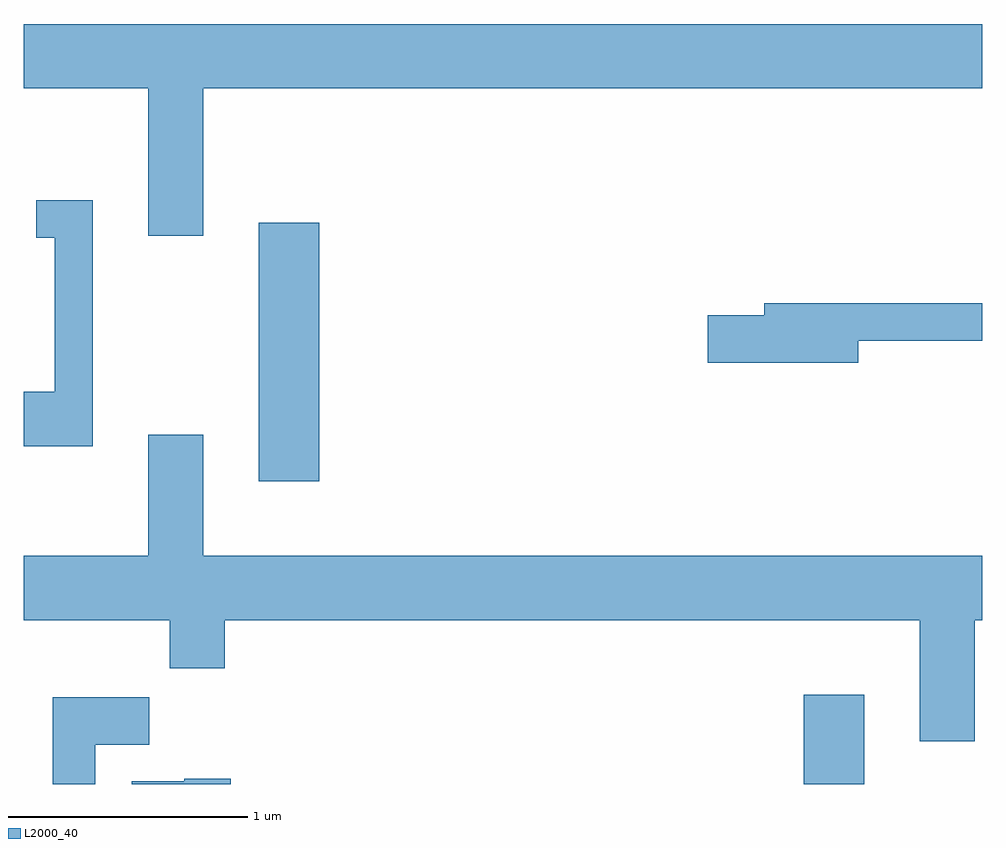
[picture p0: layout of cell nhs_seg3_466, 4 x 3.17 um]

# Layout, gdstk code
import gdstk
lib = gdstk.Library(unit=1e-6, precision=1e-09)
def R(c, l, rs):  # rectangles x0, y0, x1, y1
    for r in rs: c.add(gdstk.rectangle(r[:2], r[2:], *l))
def P(c, l, *ps):  # polygons
    for p in ps: c.add(gdstk.Polygon(p, *l))
L2000_40 = (2000, 40)

nhs_seg3_466 = lib.new_cell('nhs_seg3_466')
R(nhs_seg3_466, L2000_40, [(200.866,1231.892,201.119,1232.264), (198.591,1233.156,198.844,1234.234)])
P(nhs_seg3_466, L2000_40, [(198.359,1234.796),(201.611,1234.796),(201.611,1235.064),(197.611,1235.064),(197.611,1234.796),(198.131,1234.796),(198.131,1234.181),(198.359,1234.181)],
  [(197.899,1234.329),(197.663,1234.329),(197.663,1234.171),(197.741,1234.171),(197.741,1233.529),(197.611,1233.529),(197.611,1233.301),(197.899,1233.301)],
  [(201.094,1233.741),(201.611,1233.741),(201.611,1233.899),(200.701,1233.899),(200.701,1233.849),(200.466,1233.849),(200.466,1233.651),(201.094,1233.651)],
  [(201.579,1232.576),(201.611,1232.576),(201.611,1232.844),(198.359,1232.844),(198.359,1233.349),(198.131,1233.349),(198.131,1232.844),(197.611,1232.844),(197.611,1232.576),(198.221,1232.576),(198.221,1232.376),(198.449,1232.376),(198.449,1232.576),(201.351,1232.576),(201.351,1232.071),(201.579,1232.071)],
  [(197.909,1232.056),(198.134,1232.056),(198.134,1232.254),(197.731,1232.254),(197.731,1231.892),(197.909,1231.892)],
  [(198.474,1231.914),(198.28,1231.914),(198.28,1231.904),(198.061,1231.904),(198.061,1231.892),(198.474,1231.892)])

lib.write_gds('nhs_seg3_466.gds')
